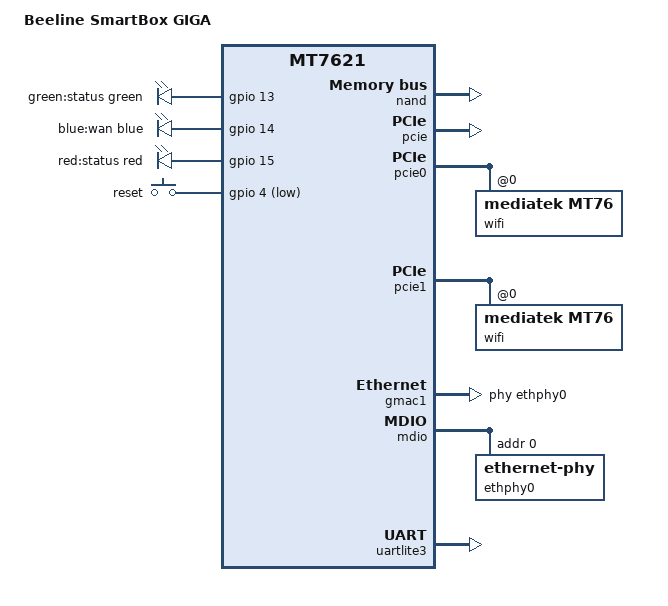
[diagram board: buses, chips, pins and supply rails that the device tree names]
// SPDX-License-Identifier: GPL-2.0-or-later OR MIT

#include "mt7621.dtsi"

#include <dt-bindings/gpio/gpio.h>
#include <dt-bindings/input/input.h>
#include <dt-bindings/leds/common.h>

/ {
	compatible = "beeline,smartbox-giga", "mediatek,mt7621-soc";
	model = "Beeline SmartBox GIGA";

	aliases {
		label-mac-device = &gmac0;

		led-boot = &led_status_green;
		led-failsafe = &led_status_red;
		led-running = &led_status_green;
		led-upgrade = &led_status_red;
	};

	leds {
		compatible = "gpio-leds";

		led_status_green: led-0 {
			label = "green:status";
			color = <LED_COLOR_ID_GREEN>;
			function = LED_FUNCTION_STATUS;
			gpios = <&gpio 13 GPIO_ACTIVE_HIGH>;
		};

		led-1 {
			label = "blue:wan";
			color = <LED_COLOR_ID_BLUE>;
			function = LED_FUNCTION_WAN;
			gpios = <&gpio 14 GPIO_ACTIVE_HIGH>;
		};

		led_status_red: led-2 {
			label = "red:status";
			color = <LED_COLOR_ID_RED>;
			function = LED_FUNCTION_STATUS;
			gpios = <&gpio 15 GPIO_ACTIVE_HIGH>;
		};
	};

	keys {
		compatible = "gpio-keys";

		reset {
			label = "reset";
			gpios = <&gpio 4 GPIO_ACTIVE_LOW>;
			linux,code = <KEY_RESTART>;
		};
	};

	ubi-concat {
		compatible = "mtd-concat";
		devices = <&ubiconcat0 &ubiconcat1 &ubiconcat2 \
			&ubiconcat3>;

		partitions {
			compatible = "fixed-partitions";
			#address-cells = <1>;
			#size-cells = <1>;

			partition@0 {
				label = "ubi";
				reg = <0x0 0x5400000>;
			};
		};
	};
};

&nand {
	status = "okay";

	partitions {
		compatible = "sercomm,sc-partitions", "fixed-partitions";
		#address-cells = <1>;
		#size-cells = <1>;

		partition@0 {
			label = "u-boot";
			reg = <0x0 0x100000>;
			sercomm,scpart-id = <0>;
			read-only;
		};

		partition@100000 {
			label = "dynamic partition map";
			reg = <0x100000 0x100000>;
			sercomm,scpart-id = <1>;
		};

		factory: partition@200000 {
			label = "Factory";
			reg = <0x200000 0x100000>;
			sercomm,scpart-id = <2>;
			read-only;

			compatible = "nvmem-cells";
			#address-cells = <1>;
			#size-cells = <1>;

			macaddr_factory_21000: macaddr@21000 {
				reg = <0x21000 0x6>;
			};
		};

		partition@300000 {
			label = "Boot Flag";
			reg = <0x300000 0x100000>;
			sercomm,scpart-id = <3>;
		};

		partition@400000 {
			label = "kernel";
			reg = <0x400000 0x600000>;
			sercomm,scpart-id = <4>;
		};

		partition@a00000 {
			label = "Kernel 2";
			reg = <0xa00000 0x600000>;
			sercomm,scpart-id = <5>;
			read-only;
		};

		ubiconcat0: partition@1000000 {
			label = "File System 1";
			reg = <0x1000000 0x1800000>;
			sercomm,scpart-id = <6>;
		};

		partition@2800000 {
			label = "File System 2";
			reg = <0x2800000 0x1800000>;
			sercomm,scpart-id = <7>;
			read-only;
		};

		ubiconcat1: partition@4000000 {
			label = "Configuration/log";
			reg = <0x4000000 0x800000>;
			sercomm,scpart-id = <8>;
		};

		ubiconcat2: partition@4800000 {
			label = "application tmp buffer (Ftool)";
			reg = <0x4800000 0xc00000>;
			sercomm,scpart-id = <9>;
		};

		ubiconcat3: partition@5400000 {
			label = "container";
			reg = <0x5400000 0x2800000>;
			sercomm,scpart-id = <10>;
		};

		partition@7c00000 {
			label = "bad block reserved";
			reg = <0x7c00000 0x380000>;
			sercomm,scpart-id = <11>;
			read-only;
		};
	};
};

&pcie {
	status = "okay";
};

&pcie0 {
	wifi@0,0 {
		compatible = "mediatek,mt76";
		reg = <0x0000 0 0 0 0>;
		mediatek,mtd-eeprom = <&factory 0x8000>;
		ieee80211-freq-limit = <5000000 6000000>;

		nvmem-cells = <&macaddr_factory_21000>;
		nvmem-cell-names = "mac-address";
		mac-address-increment = <(5)>;
	};
};

&pcie1 {
	wifi@0,0 {
		compatible = "mediatek,mt76";
		reg = <0x0000 0 0 0 0>;
		mediatek,mtd-eeprom = <&factory 0x0>;
		ieee80211-freq-limit = <2400000 2500000>;

		nvmem-cells = <&macaddr_factory_21000>;
		nvmem-cell-names = "mac-address";
		mac-address-increment = <(4)>;
	};
};

&gmac0 {
	nvmem-cells = <&macaddr_factory_21000>;
	nvmem-cell-names = "mac-address";
};

&gmac1 {
	status = "okay";
	label = "wan";
	phy-handle = <&ethphy0>;

	nvmem-cells = <&macaddr_factory_21000>;
	nvmem-cell-names = "mac-address";
	mac-address-increment = <(1)>;
};

&mdio {
	ethphy0: ethernet-phy@0 {
		reg = <0>;
	};
};

&switch0 {
	ports {
		port@1 {
			status = "okay";
			label = "lan1";
		};

		port@2 {
			status = "okay";
			label = "lan2";
		};
	};
};

&uartlite3 {
	status = "okay";
};

&state_default {
	gpio {
		groups = "i2c", "jtag";
		function = "gpio";
	};
};
